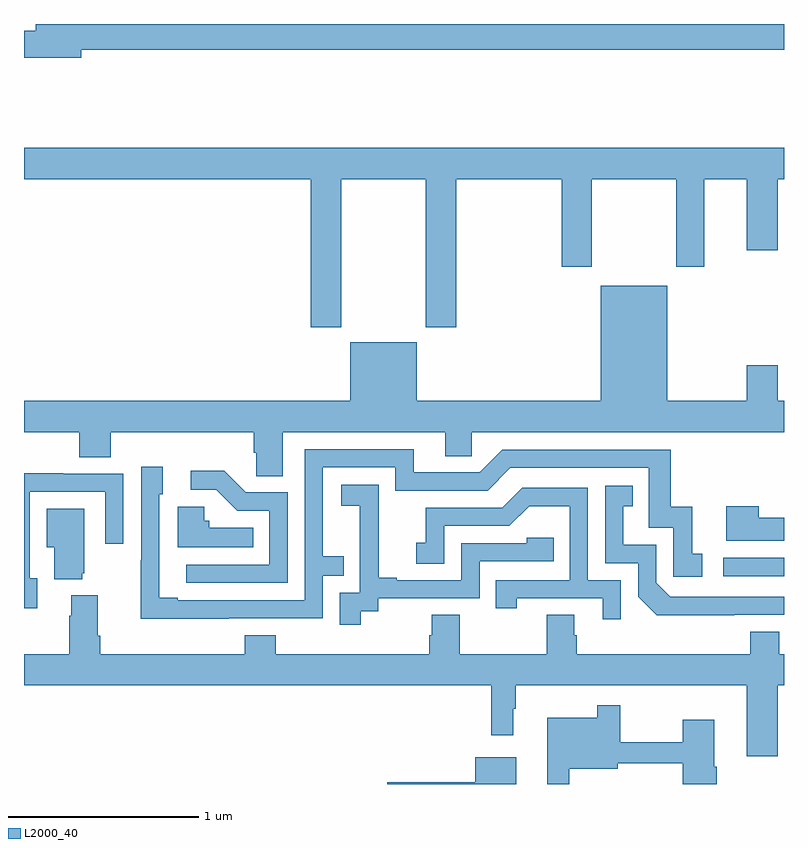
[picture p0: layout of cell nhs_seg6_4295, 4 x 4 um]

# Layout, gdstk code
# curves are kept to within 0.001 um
import gdstk
lib = gdstk.Library(unit=1e-6, precision=1e-09)
def R(c, l, rs):  # rectangles x0, y0, x1, y1
    for r in rs: c.add(gdstk.rectangle(r[:2], r[2:], *l))
def P(c, l, *ps):  # polygons
    for p in ps: c.add(gdstk.Polygon(p, *l))
L2000_40 = (2000, 40)

nhs_seg6_4295 = lib.new_cell('nhs_seg6_4295')
R(nhs_seg6_4295, L2000_40, [(368.679,930.594,369,930.69)])
P(nhs_seg6_4295, L2000_40, [(365.302,933.364),(369,933.364),(369,933.5),(365.063,933.5),(365.063,933.464),(365,933.464),(365,933.322),(365.302,933.322)],
  [(366.669,932.684),(367.114,932.684),(367.114,931.905),(367.274,931.905),(367.274,932.684),(367.829,932.684),(367.829,932.223),(367.989,932.223),(367.989,932.684),(368.434,932.684),(368.434,932.223),(368.581,932.223),(368.581,932.684),(368.804,932.684),(368.804,932.31),(368.968,932.31),(368.968,932.684),(369,932.684),(369,932.848),(365,932.848),(365,932.684),(366.509,932.684),(366.509,931.905),(366.669,931.905)],
  [(366.361,931.352),(367.217,931.352),(367.217,931.225),(367.356,931.225),(367.356,931.352),(369,931.352),(369,931.516),(368.968,931.516),(368.968,931.705),(368.804,931.705),(368.804,931.516),(368.386,931.516),(368.386,932.122),(368.036,932.122),(368.036,931.516),(367.066,931.516),(367.066,931.825),(366.716,931.825),(366.716,931.516),(365,931.516),(365,931.352),(365.291,931.352),(365.291,931.219),(365.456,931.219),(365.456,931.352),(366.209,931.352),(366.209,931.243),(366.222,931.243),(366.222,931.12),(366.361,931.12)],
  [(366.077,930.372),(366.573,930.372),(366.573,930.597),(366.683,930.597),(366.683,930.698),(366.573,930.698),(366.573,931.167),(366.954,931.167),(366.954,931.044),(367.44,931.044),(367.56,931.164),(368.289,931.164),(368.289,930.849),(368.418,930.849),(368.418,930.591),(368.569,930.591),(368.569,930.711),(368.516,930.711),(368.516,930.958),(368.405,930.958),(368.405,931.26),(367.518,931.26),(367.398,931.14),(367.051,931.14),(367.051,931.263),(366.477,931.263),(366.477,930.468),(365.809,930.468),(365.809,930.481),(365.712,930.481),(365.712,931.026),(365.731,931.026),(365.731,931.171),(365.616,931.171),(365.616,930.677),(365.614,930.677),(365.614,930.371)],
  [(366.387,931.035),(366.168,931.035),(366.055,931.148),(365.877,931.148),(365.877,931.05),(366.011,931.05),(366.122,930.939),(366.291,930.939),(366.291,930.654),(365.853,930.654),(365.853,930.558),(366.387,930.558)],
  [(365.071,930.582),(365.031,930.582),(365.031,931.038),(365.427,931.038),(365.427,930.765),(365.523,930.765),(365.523,931.134),(365.207,931.134),(365.207,931.136),(365,931.136),(365,930.426),(365.071,930.426)],
  [(366.772,930.409),(366.864,930.409),(366.864,930.477),(367.398,930.477),(367.398,930.672),(367.787,930.672),(367.787,930.795),(367.647,930.795),(367.647,930.768),(367.302,930.768),(367.302,930.573),(366.961,930.573),(366.961,930.586),(366.866,930.586),(366.866,930.869),(366.867,930.869),(366.867,931.075),(366.669,931.075),(366.669,930.965),(366.767,930.965),(366.767,930.737),(366.768,930.737),(366.768,930.507),(366.663,930.507),(366.663,930.339),(366.772,930.339)],
  [(368.738,930.39),(369,930.39),(369,930.486),(368.4,930.486),(368.328,930.558),(368.328,930.759),(368.155,930.759),(368.155,930.963),(368.204,930.963),(368.204,931.069),(368.058,931.069),(368.058,930.663),(368.232,930.663),(368.232,930.486),(368.33,930.389)],
  [(368.142,930.573),(367.968,930.573),(367.968,931.059),(367.622,931.059),(367.517,930.954),(367.114,930.954),(367.114,930.769),(367.065,930.769),(367.065,930.66),(367.212,930.66),(367.212,930.858),(367.554,930.858),(367.658,930.962),(367.872,930.962),(367.872,930.573),(367.483,930.573),(367.483,930.426),(367.594,930.426),(367.594,930.477),(368.045,930.477),(368.045,930.366),(368.142,930.366)],
  [(369,930.901),(368.867,930.901),(368.867,930.961),(368.696,930.961),(368.696,930.779),(369,930.779)],
  [(366.206,930.85),(365.976,930.85),(365.976,930.885),(365.949,930.885),(365.949,930.958),(365.81,930.958),(365.81,930.746),(366.206,930.746)],
  [(365.306,930.609),(365.317,930.609),(365.317,930.949),(365.12,930.949),(365.12,930.746),(365.159,930.746),(365.159,930.578),(365.306,930.578)],
  [(365.249,930.493),(365.249,930.386),(365.237,930.386),(365.237,930.184),(365,930.184),(365,930.02),(367.459,930.02),(367.459,929.757),(367.576,929.757),(367.576,929.897),(367.588,929.897),(367.588,930.02),(368.804,930.02),(368.804,929.646),(368.968,929.646),(368.968,930.02),(369,930.02),(369,930.184),(368.974,930.184),(368.974,930.301),(368.822,930.301),(368.822,930.184),(367.91,930.184),(367.91,930.282),(367.897,930.282),(367.897,930.392),(367.75,930.392),(367.75,930.184),(367.293,930.184),(367.293,930.392),(367.145,930.392),(367.145,930.282),(367.133,930.282),(367.133,930.184),(366.326,930.184),(366.326,930.283),(366.161,930.283),(366.161,930.184),(365.402,930.184),(365.402,930.28),(365.389,930.28),(365.389,930.493)],
  [(367.871,929.579),(368.125,929.579),(368.125,929.608),(368.467,929.608),(368.467,929.5),(368.645,929.5),(368.645,929.59),(368.632,929.59),(368.632,929.839),(368.467,929.839),(368.467,929.719),(368.137,929.719),(368.137,929.914),(368.016,929.914),(368.016,929.848),(367.754,929.848),(367.754,929.5),(367.871,929.5)],
  [(367.591,929.641),(367.376,929.641),(367.376,929.51),(366.912,929.51),(366.912,929.5),(367.591,929.5)])

lib.write_gds('nhs_seg6_4295.gds')
